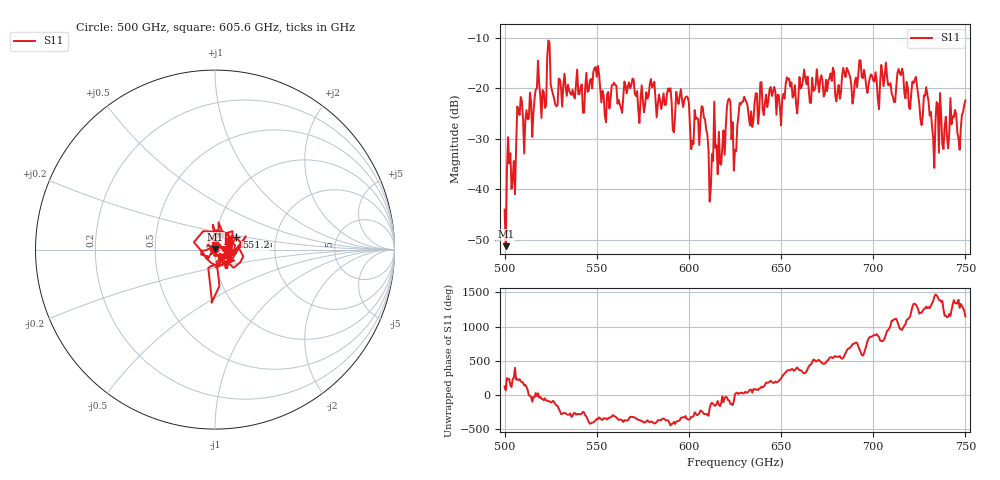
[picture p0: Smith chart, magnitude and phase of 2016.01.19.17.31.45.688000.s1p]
!Created with skrf (http://scikit-rf.org).
# GHz S RI R 50.0
!freq ReS11 ImS11
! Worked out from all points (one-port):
!   401 points, 500 GHz to 750 GHz, reference 50 ohm
!   lowest |S11| = -51.2 dB at 500.6 GHz (marker M1), VSWR 1.01, Z = 50.1 + j0.255 ohm
!   |S11| at or under -10 dB: start of sweep to end of sweep
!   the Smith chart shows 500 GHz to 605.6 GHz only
!   S11 on the Smith chart (normalised r, x): 500 GHz: 0.99, +0.01; 551.2 GHz: 1.25, +0.18; 605.6 GHz: 1.00, +0.05
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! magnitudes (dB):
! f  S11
! 500 GHz  -44.0
! 500.6 GHz  -51.2
! 502.5 GHz  -34.8
! 505 GHz  -34.4
! 508.1 GHz  -25.3
! 521.2 GHz  -20.7
! 524.4 GHz  -11.1
! 527.5 GHz  -23.3
! 531.2 GHz  -23.7
! 551.2 GHz  -17.3
! 562.5 GHz  -23.2
! 593.8 GHz  -22.2
! 605.6 GHz  -31.2
! 608.1 GHz  -25.8
! 611.9 GHz  -39.8
! 613.8 GHz  -22.7
! 618.1 GHz  -31.5
! 621.2 GHz  -22.3
! 625 GHz  -32.2
! 628.8 GHz  -22.7
! 656.2 GHz  -21.8
! 687.5 GHz  -17.8
! 711.2 GHz  -22.7
! 715 GHz  -17.4
! 718.8 GHz  -19.9
! 722.5 GHz  -18.3
! 739.4 GHz  -25.6
! 750 GHz  -22.4
